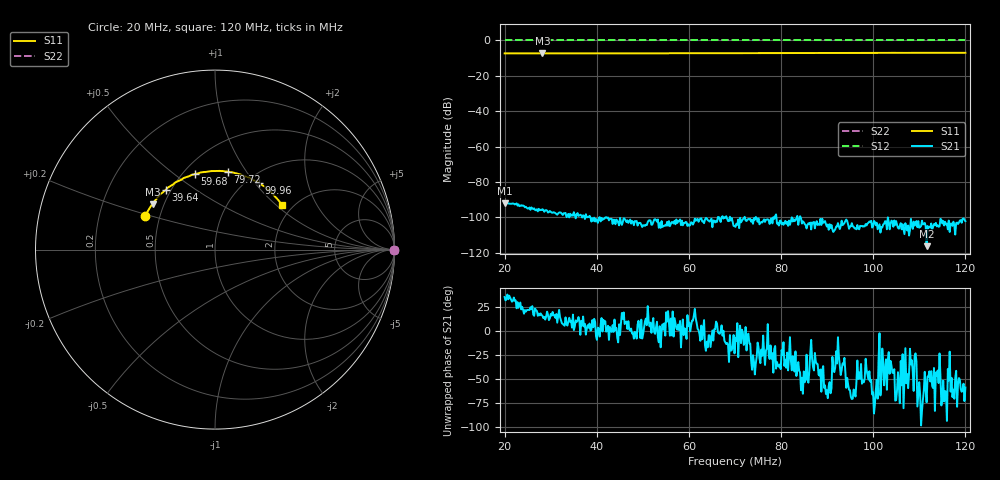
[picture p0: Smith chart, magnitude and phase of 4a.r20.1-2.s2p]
! Anritsu VNA Master:  Model: MS2036C/10/77
! SN:  1601066
! /bd0/18may26.balun/4a.r20.s2p
! Existing Calibration Information:
! TYPE:  Current Settings,  Active Cal Settings
! TIME:  05/26/2018 03:05:38 PM,  05/26/2018 02:51:55 PM
! INTERNAL TEMP:  59.3 C,  59.5 C
! # POINTS:  500,  500
! START FREQ:  20.000 MHz,  20.000 MHz
! STOP FREQ:  120.000 MHz,  120.000 MHz
! SOURCE POWER:  High,  High
! IFBW:  50 Hz,  50 Hz
! AVG FACTOR:  1 ,  1
! REF PLANE 1:  0 mm,  0 mm
! REF PLANE 2:  0 mm,  0 mm
! CAL TYPE:  Full S11,  Full S11
! CAL METHOD:  SOLT,  SOLT
! CAL LINE TYPE:  Coax,  Coax
! DUT PORT 1:  K-Conn(M),  K-Conn(M)
! DUT PORT 2:  K-Conn(M),  K-Conn(M)
! CAL STATUS:  OK: Accuracy High,  --
# GHZ S DB R 50.0
! FREQ.GHZ  S11DB  S11A  S21DB  S21A  S12DB  S12A  S22DB  S22A
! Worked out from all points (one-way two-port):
!   500 points, 20 MHz to 120 MHz, reference 50 ohm
!   highest |S21| = -91.91 dB at 20 MHz (marker M1); lowest = -116.2 dB at 111.6 MHz (marker M2)
!   lowest |S11| = -7.3 dB at 28.22 MHz (marker M3), VSWR 2.51, Z = 21.7 + j13.5 ohm
!   |S11| at or under -10 dB: nowhere
!   |S22| runs from 0.0 to 0.0 dB; largest |S21 - S12| = 1
!   S11 on the Smith chart (normalised r, x): 20 MHz: 0.41, +0.19; 39.64 MHz: 0.47, +0.38; 59.68 MHz: 0.57, +0.59; 79.72 MHz: 0.77, +0.82; 99.96 MHz: 1.13, +1.05; 120 MHz: 1.77, +1.09
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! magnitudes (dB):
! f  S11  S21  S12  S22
! 20 MHz  -7.3  -91.9  0.0  0.0
! 28.22 MHz  -7.3  -95.4  0.0  0.0
! 34.43 MHz  -7.3  -99.0  0.0  0.0
! 35.83 MHz  -7.3  -97.5  0.0  0.0
! 36.83 MHz  -7.3  -100.1  0.0  0.0
! 39.64 MHz  -7.3  -102.3  0.0  0.0
! 41.24 MHz  -7.2  -101.4  0.0  0.0
! 44.85 MHz  -7.3  -104.5  0.0  0.0
! 46.65 MHz  -7.2  -101.6  0.0  0.0
! 50.26 MHz  -7.3  -104.4  0.0  0.0
! 53.47 MHz  -7.2  -105.9  0.0  0.0
! 59.68 MHz  -7.2  -104.8  0.0  0.0
! 70.1 MHz  -7.2  -105.3  0.0  0.0
! 79.72 MHz  -7.1  -102.0  0.0  0.0
! 86.73 MHz  -7.1  -102.8  0.0  0.0
! 91.14 MHz  -7.1  -106.8  0.0  0.0
! 93.15 MHz  -7.1  -101.8  0.0  0.0
! 96.55 MHz  -7.1  -104.3  0.0  0.0
! 99.96 MHz  -7.0  -105.1  0.0  0.0
! 103.4 MHz  -7.0  -102.5  0.0  0.0
! 111.6 MHz  -7.0  -116.2  0.0  0.0
! 120 MHz  -7.0  -102.1  0.0  0.0
